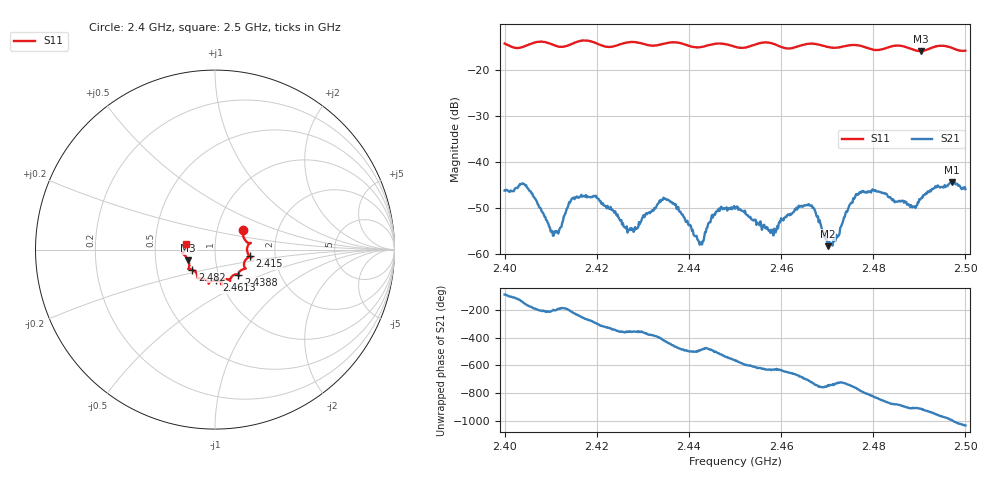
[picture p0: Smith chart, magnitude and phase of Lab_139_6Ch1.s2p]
# Hz S RI R 50
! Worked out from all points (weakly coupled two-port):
!   601 points, 2.4 GHz to 2.5 GHz, reference 50 ohm
!   highest |S21| = -44.30 dB at 2.497 GHz (marker M1); lowest = -58.3 dB at 2.4702 GHz (marker M2)
!   lowest |S11| = -15.9 dB at 2.4903 GHz (marker M3), VSWR 1.38, Z = 36.8 - j4.47 ohm
!   |S11| at or under -10 dB: start of sweep to end of sweep
!   S12 and S22 are empty: the file has one direction only
!   S11 on the Smith chart (normalised r, x): 2.4 GHz: 1.33, +0.31; 2.415 GHz: 1.47, -0.11; 2.4388 GHz: 1.24, -0.36; 2.4613 GHz: 0.96, -0.34; 2.482 GHz: 0.76, -0.17; 2.5 GHz: 0.72, +0.05
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2.4e9  0.1581 0.1118  0.000114 -0.00491  0 0  0 0
2.404333e9  0.1751 0.0443  -0.00508 -0.00258  0 0  0 0
2.411e9  0.1825 0.02  -0.00163 0.000696  0 0  0 0
2.415e9  0.1923 -0.0364  -0.00301 0.0028  0 0  0 0
2.416667e9  0.2034 -0.0441  -0.00142 0.00418  0 0  0 0
2.427167e9  0.1713 -0.1048  0.00189 0.000223  0 0  0 0
2.433333e9  0.1324 -0.1314  0.0028 -0.0022  0 0  0 0
2.438833e9  0.1296 -0.1406  -0.00153 -0.00203  0 0  0 0
2.442667e9  0.0934 -0.1508  -0.000847 -0.00105  0 0  0 0
2.4455e9  0.0837 -0.1726  -0.00214 -0.00158  0 0  0 0
2.45e9  0.0689 -0.165  -0.00285 0.00129  0 0  0 0
2.457833e9  0.0381 -0.192  0.000175 0.00184  0 0  0 0
2.461333e9  0.00763 -0.1712  0.000863 0.00251  0 0  0 0
2.466667e9  -0.0349 -0.1901  0.00337 -0.000157  0 0  0 0
2.470167e9  -0.0452 -0.1719  0.00112 -0.00049  0 0  0 0
2.472167e9  -0.0681 -0.161  0.00151 -0.000169  0 0  0 0
2.476667e9  -0.0964 -0.1583  0.00262 -0.00358  0 0  0 0
2.482e9  -0.1257 -0.1115  -0.00319 -0.00333  0 0  0 0
2.483333e9  -0.1394 -0.1088  -0.00362 -0.00201  0 0  0 0
2.490333e9  -0.1491 -0.0591  -0.00388 0.00096  0 0  0 0
2.497e9  -0.1737 -0.0111  0.000472 0.00608  0 0  0 0
2.5e9  -0.159 0.0324  0.00361 0.0036  0 0  0 0
